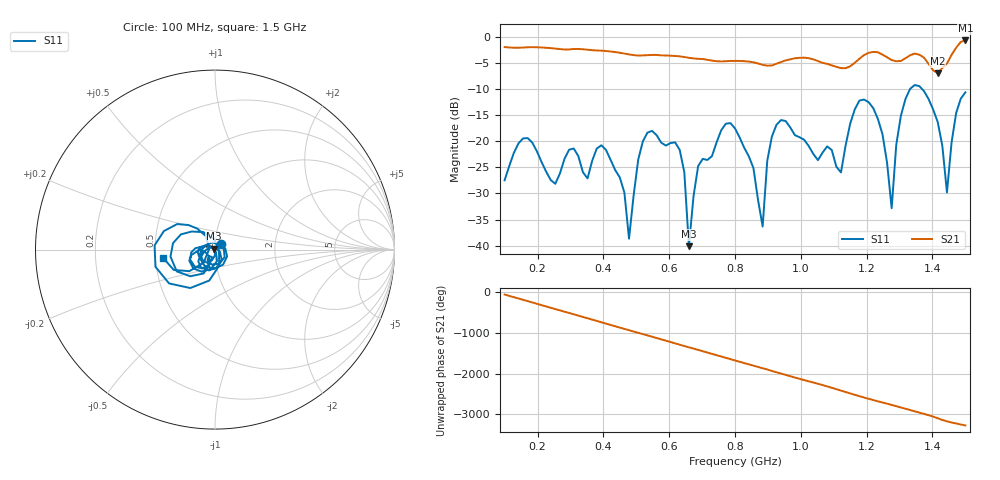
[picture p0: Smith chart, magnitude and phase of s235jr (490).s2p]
! NanoVNA-App
! Date: 2025-09-25 15:07:58
! Start: 100MHz Stop: 1,5GHz Points: 101
! S-Parameter data: F S11 S21 S12 S22
# Hz S RI R 50
!  Frequency  S11_Real  S11_Imag  S21_Real  S21_Imag  S12_Real  S12_Imag  S22_Real  S22_Imag
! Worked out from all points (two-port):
!   101 points, 100 MHz to 1.5 GHz, reference 50 ohm
!   highest |S21| = -0.69 dB at 1.5 GHz (marker M1); lowest = -7.0 dB at 1.416 GHz (marker M2)
!   |S21| within 3 dB of the highest: start of sweep to 623.6 MHz; 1.188 GHz to 1.256 GHz (67.76 MHz wide, 5.54 % of centre) (the widest 2 of 4)
!   lowest |S11| = -40.1 dB at 660 MHz (marker M3), VSWR 1.02, Z = 49.2 + j0.545 ohm
!   |S11| at or under -10 dB: start of sweep to 1.332 GHz; 1.368 GHz to end of sweep
!   S12 and S22 are empty: the file has one direction only
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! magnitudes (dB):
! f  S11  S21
! 100 MHz  -27.5  -2.0
! 156 MHz  -19.5  -2.1
! 338 MHz  -25.9  -2.4
! 408 MHz  -21.7  -2.7
! 478 MHz  -38.7  -3.4
! 520 MHz  -20.0  -3.6
! 576 MHz  -20.3  -3.5
! 632 MHz  -21.6  -3.7
! 660 MHz  -40.1  -4.0
! 688 MHz  -24.7  -4.2
! 800 MHz  -17.5  -4.6
! 884 MHz  -36.3  -5.4
! 926 MHz  -16.8  -5.1
! 1.038 GHz  -22.4  -4.3
! 1.122 GHz  -26.0  -6.0
! 1.206 GHz  -12.5  -3.1
! 1.276 GHz  -32.8  -4.5
! 1.29 GHz  -20.6  -4.7
! 1.332 GHz  -10.0  -3.5
! 1.416 GHz  -16.3  -7.0
! 1.444 GHz  -29.8  -5.1
! 1.5 GHz  -10.6  -0.7
